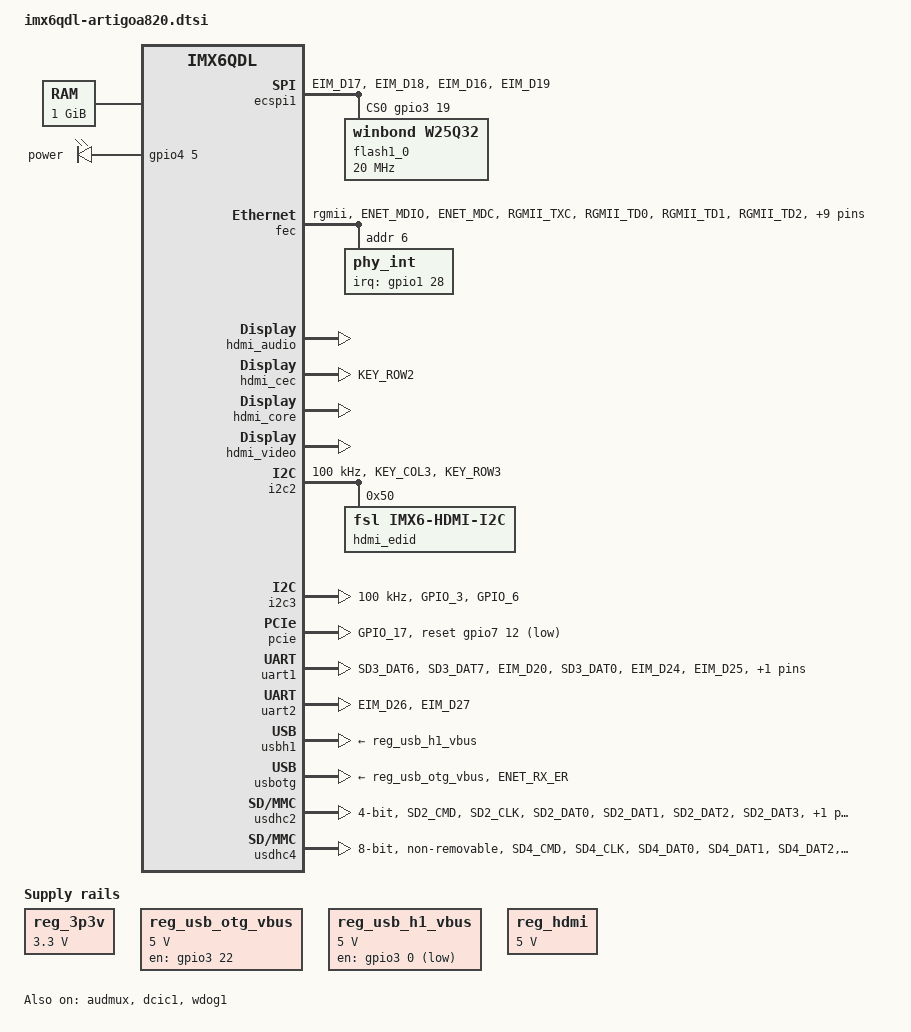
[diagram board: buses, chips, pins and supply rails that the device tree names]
/*
 * Copyright 2014-2018 VIA Technologies, Inc.
 * Copyright 2012-2016 Freescale Semiconductor, Inc.
 * Copyright 2011 Linaro Ltd.
 *
 * The code contained herein is licensed under the GNU General Public
 * License. You may obtain a copy of the GNU General Public License
 * Version 2 or later at the following locations:
 *
 * http://www.opensource.org/licenses/gpl-license.html
 * http://www.gnu.org/copyleft/gpl.html
 */

#include <dt-bindings/gpio/gpio.h>
#include <dt-bindings/input/input.h>

/ {
	aliases {
		mmc0 = &usdhc4;
		mmc1 = &usdhc2;
		mxcfb0 = &mxcfb1;
	};

	chosen {
		stdout-path = &uart2;
	};

	memory: memory {
		reg = <0x10000000 0x40000000>;
	};

	regulators {
		compatible = "simple-bus";
		#address-cells = <1>;
		#size-cells = <0>;

		reg_3p3v: regulator@0 {
			compatible = "regulator-fixed";
			reg = <0>;
			regulator-name = "3P3V";
			regulator-min-microvolt = <3300000>;
			regulator-max-microvolt = <3300000>;
			regulator-always-on;
		};

		reg_usb_otg_vbus: regulator@1 {
			compatible = "regulator-fixed";
			reg = <1>;
			regulator-name = "usb_otg_vbus";
			regulator-min-microvolt = <5000000>;
			regulator-max-microvolt = <5000000>;
			gpio = <&gpio3 22 0>;
			enable-active-high;
		};

		reg_usb_h1_vbus: regulator@2 {
			compatible = "regulator-fixed";
			reg = <2>;
			regulator-name = "usb_h1_vbus";
			regulator-min-microvolt = <5000000>;
			regulator-max-microvolt = <5000000>;
			gpio = <&gpio3 0 1>; /* low enable */
		};

		reg_hdmi: regulator@3 {
			compatible = "regulator-fixed";
			reg = <3>;
			regulator-name = "hdmi-5v-supply";
			regulator-min-microvolt = <5000000>;
			regulator-max-microvolt = <5000000>;
			enable-active-high;
		};
	};

	sound-hdmi {
		compatible = "fsl,imx6q-audio-hdmi",
			     "fsl,imx-audio-hdmi";
		model = "imx-audio-hdmi";
		hdmi-controller = <&hdmi_audio>;
	};

	mxcfb1: fb@0 {
		compatible = "fsl,mxc_sdc_fb";
		disp_dev = "hdmi";
		interface_pix_fmt = "RGB24";
		mode_str ="1920x1080M@60";
		default_bpp = <24>;
		int_clk = <0>;
		late_init = <0>;
		status = "okay";
	};

	v4l2_out {
		compatible = "fsl,mxc_v4l2_output";
		status = "okay";
	};

	leds {
		compatible = "gpio-leds";

		power {
			gpios = <&gpio4 5 GPIO_ACTIVE_HIGH>;
			default-state = "keep";
			retain-state-suspended;
		};
	};

};

&audmux {
	pinctrl-names = "default";
	pinctrl-0 = <&pinctrl_audmux>;
	status = "okay";
};

&clks {
	assigned-clocks = <&clks IMX6QDL_CLK_LDB_DI0_SEL>,
			  <&clks IMX6QDL_CLK_LDB_DI1_SEL>;
	assigned-clock-parents = <&clks IMX6QDL_CLK_PLL2_PFD0_352M>,
				 <&clks IMX6QDL_CLK_PLL2_PFD0_352M>;
};

&ecspi1 {
	fsl,spi-num-chipselects = <1>;
	cs-gpios = <&gpio3 19 0>;
	pinctrl-names = "default";
	pinctrl-0 = <&pinctrl_ecspi1 &pinctrl_ecspi1_cs1>;
	status = "okay";

	flash1_0: m25p80@0 {
		#address-cells = <1>;
		#size-cells = <1>;
		compatible = "winbond,w25q32";
		spi-max-frequency = <20000000>;
		reg = <0>; /* Chip-Select number */
	};
};

&fec {
	pinctrl-names = "default";
	pinctrl-0 = <&pinctrl_enet>;
	phy-mode = "rgmii";
	status = "okay";

	#address-cells = <0>;
	#size-cells = <1>;

	phy_int {
		reg = <0x6>;
		interrupt-parent = <&gpio1>;
		interrupts = <28 IRQ_TYPE_LEVEL_LOW>;
	};
};

&gpc {
	fsl,ldo-bypass = <0>;
};

&dcic1 {
	dcic_id = <0>;
	dcic_mux = "dcic-hdmi";
	status = "okay";
};

&hdmi_audio {
	status = "okay";
};

&hdmi_cec {
	pinctrl-names = "default";
	pinctrl-0 = <&pinctrl_hdmi_cec>;
	status = "okay";
};

&hdmi_core {
	ipu_id = <0>;
	disp_id = <0>;
	status = "okay";
};

&hdmi_video {
	fsl,phy_reg_vlev = <0x0294>;
	fsl,phy_reg_cksymtx = <0x800d>;
	HDMI-supply = <&reg_hdmi>;
	status = "okay";
};

&i2c2 {
	clock-frequency = <100000>;
	pinctrl-names = "default";
	pinctrl-0 = <&pinctrl_i2c2>;
	status = "okay";

	hdmi_edid: edid@50 {
		compatible = "fsl,imx6-hdmi-i2c";
		reg = <0x50>;
	};
};

&i2c3 {
	clock-frequency = <100000>;
	pinctrl-names = "default";
	pinctrl-0 = <&pinctrl_i2c3>;
	status = "okay";
};

&iomuxc {
	pinctrl-names = "default";
	pinctrl-0 = <&pinctrl_hog>;

	imx6qdl-artigoa820 {
		pinctrl_hog: hoggrp {
			fsl,pins = <
				MX6QDL_PAD_GPIO_1__GPIO1_IO01		0x80000000
				MX6QDL_PAD_GPIO_2__GPIO1_IO02		0x80000000
				MX6QDL_PAD_GPIO_4__GPIO1_IO04		0x80000000
				MX6QDL_PAD_GPIO_5__GPIO1_IO05		0x80000000
				MX6QDL_PAD_GPIO_7__GPIO1_IO07		0x80000000
				MX6QDL_PAD_GPIO_8__GPIO1_IO08		0x80000000
				MX6QDL_PAD_GPIO_9__GPIO1_IO09		0x80000000
				MX6QDL_PAD_SD1_DAT0__GPIO1_IO16		0x80000000
				MX6QDL_PAD_SD1_DAT1__GPIO1_IO17		0x80000000
				MX6QDL_PAD_ENET_TX_EN__GPIO1_IO28	0x1b0b0
				MX6QDL_PAD_NANDF_D2__GPIO2_IO02		0x80000000

				MX6QDL_PAD_EIM_DA0__GPIO3_IO00		0x80000000
				MX6QDL_PAD_EIM_D22__GPIO3_IO22		0x80000000
				MX6QDL_PAD_EIM_D28__GPIO3_IO28		0x80000000
				MX6QDL_PAD_GPIO_19__GPIO4_IO05		0x80000000

				MX6QDL_PAD_NANDF_ALE__GPIO6_IO08	0x80000000

				MX6QDL_PAD_NANDF_CS2__GPIO6_IO15	0x80000000
				MX6QDL_PAD_GPIO_16__GPIO7_IO11		0x80000000
				MX6QDL_PAD_GPIO_18__GPIO7_IO13		0x80000000
			>;
		};

		pinctrl_audmux: audmuxgrp {
			fsl,pins = <
				MX6QDL_PAD_DISP0_DAT20__AUD4_TXC	0x130b0
				MX6QDL_PAD_DISP0_DAT21__AUD4_TXD	0x110b0
				MX6QDL_PAD_DISP0_DAT22__AUD4_TXFS	0x130b0
				MX6QDL_PAD_DISP0_DAT23__AUD4_RXD	0x130b0
			>;
		};

		pinctrl_ecspi1: ecspi1grp {
			fsl,pins = <
				MX6QDL_PAD_EIM_D17__ECSPI1_MISO		0x100b1
				MX6QDL_PAD_EIM_D18__ECSPI1_MOSI		0x100b1
				MX6QDL_PAD_EIM_D16__ECSPI1_SCLK		0x100b1
			>;
		};

		pinctrl_ecspi1_cs1: ecspi1cs1grp {
			fsl,pins = <
				MX6QDL_PAD_EIM_D19__GPIO3_IO19		0x80000000
			>;
		};

		pinctrl_i2c3_egalax_int: egalax_i2c3_intgrp {
			fsl,pins = <
				MX6QDL_PAD_NANDF_CLE__GPIO6_IO07 0x80000000
			>;
		};

		pinctrl_enet: enetgrp {
			fsl,pins = <
				MX6QDL_PAD_ENET_MDIO__ENET_MDIO		0x1b0b0
				MX6QDL_PAD_ENET_MDC__ENET_MDC		0x1b0b0
				MX6QDL_PAD_RGMII_TXC__RGMII_TXC		0x1b030
				MX6QDL_PAD_RGMII_TD0__RGMII_TD0		0x1b030
				MX6QDL_PAD_RGMII_TD1__RGMII_TD1		0x1b030
				MX6QDL_PAD_RGMII_TD2__RGMII_TD2		0x1b030
				MX6QDL_PAD_RGMII_TD3__RGMII_TD3		0x1b030
				MX6QDL_PAD_RGMII_TX_CTL__RGMII_TX_CTL	0x1b030
				MX6QDL_PAD_ENET_REF_CLK__ENET_TX_CLK	0x1b0b0
				MX6QDL_PAD_RGMII_RXC__RGMII_RXC		0x1b030
				MX6QDL_PAD_RGMII_RD0__RGMII_RD0		0x1b030
				MX6QDL_PAD_RGMII_RD1__RGMII_RD1		0x1b030
				MX6QDL_PAD_RGMII_RD2__RGMII_RD2		0x1b030
				MX6QDL_PAD_RGMII_RD3__RGMII_RD3		0x1b030
				MX6QDL_PAD_RGMII_RX_CTL__RGMII_RX_CTL	0x1b030
			>;
		};

		pinctrl_hdmi_cec: hdmicecgrp {
			fsl,pins = <
				MX6QDL_PAD_KEY_ROW2__HDMI_TX_CEC_LINE 0x1f8b0
			>;
		};

		pinctrl_i2c2: i2c2grp {
			fsl,pins = <
				MX6QDL_PAD_KEY_COL3__I2C2_SCL		0x4001b8b1
				MX6QDL_PAD_KEY_ROW3__I2C2_SDA		0x4001b8b1
			>;
		};

		pinctrl_i2c3: i2c3grp {
			fsl,pins = <
				MX6QDL_PAD_GPIO_3__I2C3_SCL		0x4001b8b1
				MX6QDL_PAD_GPIO_6__I2C3_SDA		0x4001b8b1
			>;
		};

		pinctrl_pcie: pciegrp {
			fsl,pins = <
				MX6QDL_PAD_GPIO_17__GPIO7_IO12	0x1b0b0
			>;
		};

		pinctrl_pcie_reg: pciereggrp {
			fsl,pins = <
				MX6QDL_PAD_EIM_D19__GPIO3_IO19	0x1b0b0
			>;
		};

		pinctrl_uart1: uart1grp {
			fsl,pins = <
				MX6QDL_PAD_SD3_DAT6__UART1_TX_DATA	0x80000000
				MX6QDL_PAD_SD3_DAT7__UART1_RX_DATA	0x80000000
				MX6QDL_PAD_EIM_D20__UART1_CTS_B		0x80000000
				MX6QDL_PAD_SD3_DAT0__UART1_RTS_B	0x130b0
//				MX6QDL_PAD_SD3_DAT0__GPIO7_IO04		0x130b0
				MX6QDL_PAD_EIM_D24__UART1_DTR_B		0x130b0
				MX6QDL_PAD_EIM_D25__UART1_DSR_B		0x80000000
			>;
		};

		pinctrl_uart2: uart2grp {
			fsl,pins = <
				MX6QDL_PAD_EIM_D26__UART2_TX_DATA	0x1b0b1
				MX6QDL_PAD_EIM_D27__UART2_RX_DATA	0x1b0b1
			>;
		};

		pinctrl_usbotg: usbotggrp {
			fsl,pins = <
				MX6QDL_PAD_ENET_RX_ER__USB_OTG_ID	0x17059
			>;
		};

		pinctrl_usdhc2: usdhc2grp {
			fsl,pins = <
				MX6QDL_PAD_SD2_CMD__SD2_CMD		0x17059
				MX6QDL_PAD_SD2_CLK__SD2_CLK		0x10059
				MX6QDL_PAD_SD2_DAT0__SD2_DATA0		0x17059
				MX6QDL_PAD_SD2_DAT1__SD2_DATA1		0x17059
				MX6QDL_PAD_SD2_DAT2__SD2_DATA2		0x17059
				MX6QDL_PAD_SD2_DAT3__SD2_DATA3		0x17059
			>;
		};

		pinctrl_usdhc4: usdhc4grp {
			fsl,pins = <
				MX6QDL_PAD_SD4_CMD__SD4_CMD		0x17059
				MX6QDL_PAD_SD4_CLK__SD4_CLK		0x10059
				MX6QDL_PAD_SD4_DAT0__SD4_DATA0		0x17059
				MX6QDL_PAD_SD4_DAT1__SD4_DATA1		0x17059
				MX6QDL_PAD_SD4_DAT2__SD4_DATA2		0x17059
				MX6QDL_PAD_SD4_DAT3__SD4_DATA3		0x17059
				MX6QDL_PAD_SD4_DAT4__SD4_DATA4		0x17059
				MX6QDL_PAD_SD4_DAT5__SD4_DATA5		0x17059
				MX6QDL_PAD_SD4_DAT6__SD4_DATA6		0x17059
				MX6QDL_PAD_SD4_DAT7__SD4_DATA7		0x17059
			>;
		};
		pinctrl_usbh1: usbh1grp {
			fsl,pins = <
				MX6QDL_PAD_EIM_D30__USB_H1_OC		0x80000000
			>;
		};

		pinctrl_wdog: wdoggrp {
			fsl,pins = <
				MX6QDL_PAD_DISP0_DAT8__WDOG1_B 0x80000000
			>;
		};

	};
};

&pcie {
	pinctrl-names = "default";
	pinctrl-0 = <&pinctrl_pcie>;
	reset-gpio = <&gpio7 12 GPIO_ACTIVE_LOW>;
	status = "okay";
};

&snvs_poweroff {
	status = "okay";
};

&uart1 {
	pinctrl-names = "default";
	pinctrl-0 = <&pinctrl_uart1>;
	status = "okay";
	fsl,uart-has-rtscts;
	fsl,dte-mode;
	rts-gpios = <&gpio7 4 GPIO_ACTIVE_LOW>;
};

&uart2 {
	pinctrl-names = "default";
	pinctrl-0 = <&pinctrl_uart2>;
	status = "okay";
};

&usbh1 {
	vbus-supply = <&reg_usb_h1_vbus>;
	pinctrl-1 = <&pinctrl_usbh1>;
	status = "okay";
};

&usbotg {
	vbus-supply = <&reg_usb_otg_vbus>;
	pinctrl-names = "default";
	pinctrl-0 = <&pinctrl_usbotg>;
	disable-over-current;
	srp-disable;
	hnp-disable;
	adp-disable;
	status = "okay";
};

&usbphy1 {
        tx-d-cal = <0x5>;
};

&usbphy2 {
        tx-d-cal = <0x5>;
};

&usdhc2 {
	pinctrl-names = "default";
	pinctrl-0 = <&pinctrl_usdhc2>;
	bus-width = <4>;
	cd-gpios = <&gpio2 2 GPIO_ACTIVE_LOW>;
	no-1-8-v;
	keep-power-in-suspend;
	enable-sdio-wakeup;
	status = "okay";
};

&usdhc4 {
	pinctrl-names = "default";
	pinctrl-0 = <&pinctrl_usdhc4>;
	bus-width = <8>;
	non-removable;
	no-1-8-v;
	keep-power-in-suspend;
	status = "okay";
};

&wdog1 {
	pinctrl-names = "default";
	pinctrl-0 = <&pinctrl_wdog>;
	fsl,ext-reset-output;
	status = "okay";
};

&wdog2 {
	status = "disabled";
};
